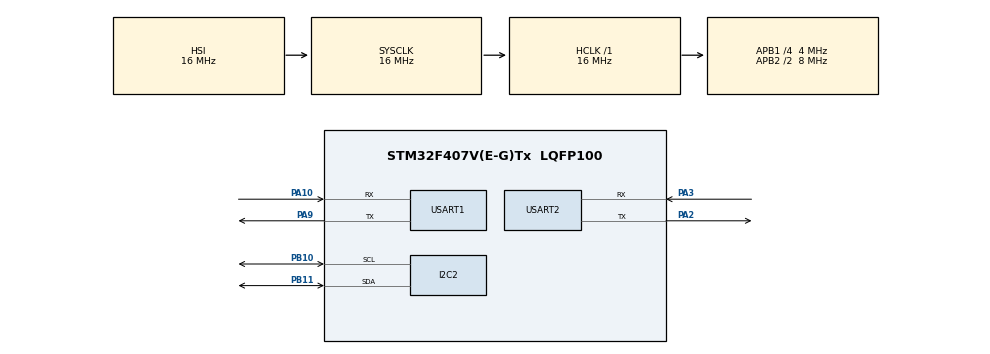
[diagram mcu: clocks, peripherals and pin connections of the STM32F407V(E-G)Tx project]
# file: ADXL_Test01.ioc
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Mcu.Family=STM32F4
Mcu.Name=STM32F407V(E-G)Tx
Mcu.Package=LQFP100
NVIC.PriorityGroup=NVIC_PRIORITYGROUP_0
PA10.Mode=Asynchronous
PA10.Signal=USART1_RX
PA2.Mode=Asynchronous
PA2.Signal=USART2_TX
PA3.Mode=Asynchronous
PA3.Signal=USART2_RX
PA9.Mode=Asynchronous
PA9.Signal=USART1_TX
PB10.Mode=I2C
PB10.Signal=I2C2_SCL
PB11.Mode=I2C
PB11.Signal=I2C2_SDA
ProjectManager.HeapSize=0x200
ProjectManager.StackSize=0x400
ProjectManager.TargetToolchain=STM32CubeIDE
RCC.48MHZClocksFreq_Value=16000000
RCC.AHBFreq_Value=16000000
RCC.APB1CLKDivider=RCC_HCLK_DIV4
RCC.APB1Freq_Value=4000000
RCC.APB1TimFreq_Value=8000000
RCC.APB2CLKDivider=RCC_HCLK_DIV2
RCC.APB2Freq_Value=8000000
RCC.APB2TimFreq_Value=16000000
RCC.CortexFreq_Value=16000000
RCC.HCLKFreq_Value=16000000
RCC.HSE_VALUE=8000000
RCC.HSI_VALUE=16000000
RCC.LSE_VALUE=32768
RCC.PLLM=8
RCC.PLLN=56
RCC.PLLQ=7
RCC.SYSCLKFreq_VALUE=16000000
RCC.VCOOutputFreq_Value=112000000
USART1.VirtualMode=VM_ASYNC
USART2.VirtualMode=VM_ASYNC
board=STM32F407G-DISC1

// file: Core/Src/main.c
/* USER CODE BEGIN Header */
/**
  ******************************************************************************
  * @file           : main.c
  * @brief          : Main program body
  ******************************************************************************
  * @attention
  *
  * Copyright (c) 2024 STMicroelectronics.
  * All rights reserved.
  *
  * This software is licensed under terms that can be found in the LICENSE file
  * in the root directory of this software component.
  * If no LICENSE file comes with this software, it is provided AS-IS.
  *
  ******************************************************************************
  */
/* USER CODE END Header */
#include "main.h"

/* USER CODE BEGIN Includes */
#include <stdio.h>
/* USER CODE END Includes */

/* USER CODE BEGIN PD */
#define ADXL_ADDR		(0x53 << 1)
/* USER CODE END PD */

I2C_HandleTypeDef hi2c2;

UART_HandleTypeDef huart1;
UART_HandleTypeDef huart2;

/* USER CODE BEGIN PV */
uint8_t data_rec[6];
int16_t x,y,z;
float xg,yg,zg;
/* USER CODE END PV */

void SystemClock_Config(void);
static void MX_GPIO_Init(void);
static void MX_I2C2_Init(void);
static void MX_USART2_UART_Init(void);
static void MX_USART1_UART_Init(void);
/* USER CODE BEGIN PFP */
#ifdef __GNUC__
#define PUTCHAR_PROTOTYPE int __io_putchar(int ch)
#else
#define PUTCHAR_PROTOTYPE int fputc(int ch, FILE *f)
#endif

PUTCHAR_PROTOTYPE
{
  HAL_UART_Transmit(&huart2, (uint8_t *)&ch, 1, HAL_MAX_DELAY);
  return ch;
}

void adxl_write(uint8_t reg, uint8_t value)
{
	uint8_t Data[2];
	Data[0] = reg;
	Data[1] = value;
	if( HAL_I2C_Master_Transmit(&hi2c2, ADXL_ADDR, Data , 2, 100) == HAL_OK)
	{
		printf("OK\r\n");
	}
}

void adxl_read(uint8_t reg , uint8_t Noofbyte)
{

	if(HAL_I2C_Mem_Read(&hi2c2, ADXL_ADDR, reg, 1, data_rec, Noofbyte, 100) != HAL_OK)
	{
		printf("Error\r\n");
		Error_Handler();
	}
}

void adxl_init(void)
{
	adxl_read(0x00, 1);

	// Power Register
	adxl_write(0x2D, 0x00); // reset power
	adxl_write(0x2D, 0x08); // measure mode

	// data format
	adxl_write(0x31,0x01); // +-4g

}
/* USER CODE END PFP */

int main(void)
{
  /* USER CODE BEGIN 1 */
	int8_t Offset[3] = {8 , 5 , -119};
	char Txbuf[100];
  /* USER CODE END 1 */

  /* MCU Configuration--------------------------------------------------------*/

  /* Reset of all peripherals, Initializes the Flash interface and the Systick. */
  HAL_Init();

  /* Configure the system clock */
  SystemClock_Config();

  /* Initialize all configured peripherals */
  MX_GPIO_Init();
  MX_I2C2_Init();
  MX_USART2_UART_Init();
  MX_USART1_UART_Init();
  /* USER CODE BEGIN 2 */
  adxl_init();
  /* USER CODE END 2 */

  /* Infinite loop */
  /* USER CODE BEGIN WHILE */
  while (1)
  {

	  adxl_read(0x32, 6);
	  x = (data_rec[1] << 8 | data_rec[0]);
	  y = (data_rec[3] << 8 | data_rec[2]);
	  z = (data_rec[5] << 8 | data_rec[4]);
	  x = x + Offset[0];
	  y = y + Offset[1];
	  z = z + Offset[2];
//	  printf("*****************************************RAW VALUE********************************\r\nX : %d \tY : %d \tZ : %d \r\n", x,y,z);
	  xg = x * 0.0078;
	  yg = y * 0.0078;
	  zg = z * 0.0078;
	  printf("X : %0.01f m/s2 \tY : %0.01f m/s2 \tZ : %0.01f m/s2 \r\n", xg * 9.8,yg * 9.8,zg * 9.8);
	  sprintf(Txbuf,"X axis %0.2f\t Y axis %0.2f\t Z axis %0.2f\r\n",xg,yg,zg);
	  HAL_UART_Transmit(&huart1,(uint8_t *) Txbuf, sizeof(Txbuf), HAL_MAX_DELAY);

//	  HAL_Delay(10);
	  HAL_Delay(2000);
    /* USER CODE END WHILE */

  }
}

void SystemClock_Config(void)
{
  RCC_OscInitTypeDef RCC_OscInitStruct = {0};
  RCC_ClkInitTypeDef RCC_ClkInitStruct = {0};

  /** Configure the main internal regulator output voltage
  */
  __HAL_RCC_PWR_CLK_ENABLE();
  __HAL_PWR_VOLTAGESCALING_CONFIG(PWR_REGULATOR_VOLTAGE_SCALE1);

  /** Initializes the RCC Oscillators according to the specified parameters
  * in the RCC_OscInitTypeDef structure.
  */
  RCC_OscInitStruct.OscillatorType = RCC_OSCILLATORTYPE_HSI;
  RCC_OscInitStruct.HSIState = RCC_HSI_ON;
  RCC_OscInitStruct.HSICalibrationValue = RCC_HSICALIBRATION_DEFAULT;
  RCC_OscInitStruct.PLL.PLLState = RCC_PLL_NONE;
  if (HAL_RCC_OscConfig(&RCC_OscInitStruct) != HAL_OK)
  {
    Error_Handler();
  }

  /** Initializes the CPU, AHB and APB buses clocks
  */
  RCC_ClkInitStruct.ClockType = RCC_CLOCKTYPE_HCLK|RCC_CLOCKTYPE_SYSCLK
                              |RCC_CLOCKTYPE_PCLK1|RCC_CLOCKTYPE_PCLK2;
  RCC_ClkInitStruct.SYSCLKSource = RCC_SYSCLKSOURCE_HSI;
  RCC_ClkInitStruct.AHBCLKDivider = RCC_SYSCLK_DIV1;
  RCC_ClkInitStruct.APB1CLKDivider = RCC_HCLK_DIV4;
  RCC_ClkInitStruct.APB2CLKDivider = RCC_HCLK_DIV2;

  if (HAL_RCC_ClockConfig(&RCC_ClkInitStruct, FLASH_LATENCY_0) != HAL_OK)
  {
    Error_Handler();
  }
}

static void MX_I2C2_Init(void)
{

  hi2c2.Instance = I2C2;
  hi2c2.Init.ClockSpeed = 100000;
  hi2c2.Init.DutyCycle = I2C_DUTYCYCLE_2;
  hi2c2.Init.OwnAddress1 = 0;
  hi2c2.Init.AddressingMode = I2C_ADDRESSINGMODE_7BIT;
  hi2c2.Init.DualAddressMode = I2C_DUALADDRESS_DISABLE;
  hi2c2.Init.OwnAddress2 = 0;
  hi2c2.Init.GeneralCallMode = I2C_GENERALCALL_DISABLE;
  hi2c2.Init.NoStretchMode = I2C_NOSTRETCH_DISABLE;
  if (HAL_I2C_Init(&hi2c2) != HAL_OK)
  {
    Error_Handler();
  }

}

static void MX_USART1_UART_Init(void)
{

  huart1.Instance = USART1;
  huart1.Init.BaudRate = 115200;
  huart1.Init.WordLength = UART_WORDLENGTH_8B;
  huart1.Init.StopBits = UART_STOPBITS_1;
  huart1.Init.Parity = UART_PARITY_NONE;
  huart1.Init.Mode = UART_MODE_TX_RX;
  huart1.Init.HwFlowCtl = UART_HWCONTROL_NONE;
  huart1.Init.OverSampling = UART_OVERSAMPLING_16;
  if (HAL_UART_Init(&huart1) != HAL_OK)
  {
    Error_Handler();
  }

}

static void MX_USART2_UART_Init(void)
{

  huart2.Instance = USART2;
  huart2.Init.BaudRate = 115200;
  huart2.Init.WordLength = UART_WORDLENGTH_8B;
  huart2.Init.StopBits = UART_STOPBITS_1;
  huart2.Init.Parity = UART_PARITY_NONE;
  huart2.Init.Mode = UART_MODE_TX_RX;
  huart2.Init.HwFlowCtl = UART_HWCONTROL_NONE;
  huart2.Init.OverSampling = UART_OVERSAMPLING_16;
  if (HAL_UART_Init(&huart2) != HAL_OK)
  {
    Error_Handler();
  }

}

static void MX_GPIO_Init(void)
{

  /* GPIO Ports Clock Enable */
  __HAL_RCC_GPIOA_CLK_ENABLE();
  __HAL_RCC_GPIOB_CLK_ENABLE();

}

void Error_Handler(void)
{
  __disable_irq();
  while (1)
  {
  }
}
